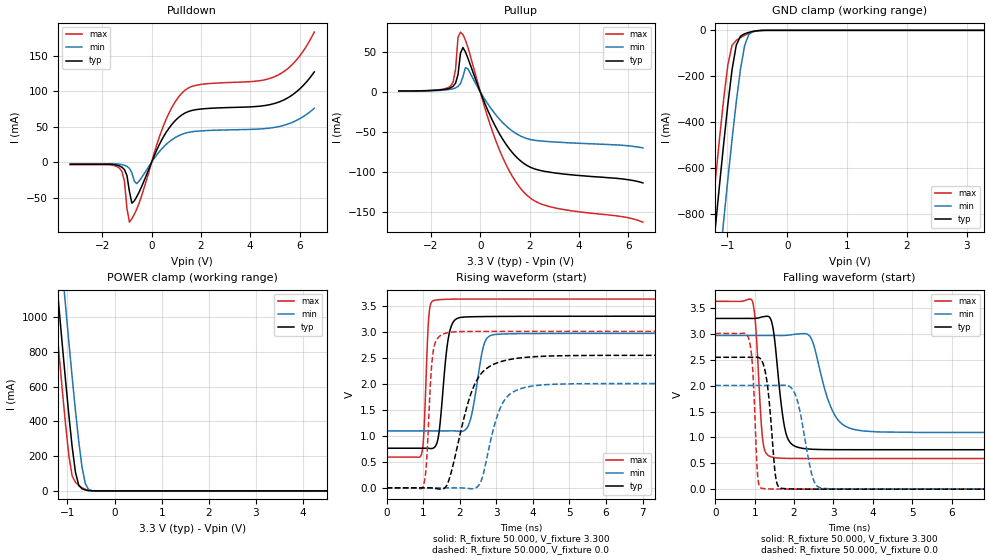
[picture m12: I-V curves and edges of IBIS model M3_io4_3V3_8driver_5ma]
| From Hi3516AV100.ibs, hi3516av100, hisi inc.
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|   Model M3_io4_3V3_8driver_5ma
[Model] M3_io4_3V3_8driver_5ma
Model_type I/O
Enable   Active-Low
C_comp   3.239pF   3.132pF   3.499pF
C_comp_pullup   1.749pF   1.723pF   1.877pF
C_comp_pulldown   1.304pF   1.261pF   1.423pF
[Temperature Range]   25.000   0.125k   -40.000
[Voltage Range]   3.300V   2.970V   3.630V
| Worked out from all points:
|   slope of the pulldown table from 0 to 0.495 V, typ, clamps not added: 13.5 ohm
|   slope of the pullup table from 0 to 0.495 V, typ, clamps not added: 13.8 ohm
|   GND clamp passes 1 mA (typ) near -0.46 V on its own axis
|   POWER clamp passes 1 mA (typ) near -0.51 V on its own axis
|   rising waveform, R_fixture 50.000, V_fixture 3.300: 20-80 % time 202ps typ, 262ps min, 101ps max; typ from 0.763 V to 3.3 V
|   rising waveform, R_fixture 50.000, V_fixture 0.0: 20-80 % time 602ps typ, 465ps min, 137ps max; typ from 0.001 V to 2.55 V
|   falling waveform, R_fixture 50.000, V_fixture 3.300: 20-80 % time 222ps typ, 439ps min, 136ps max; typ from 3.3 V to 0.763 V
|   falling waveform, R_fixture 50.000, V_fixture 0.0: 20-80 % time 175ps typ, 294ps min, 108ps max; typ from 2.55 V to 0.001 V
[Pulldown]
|Voltage   I(typ)   I(min)   I(max)
-3.3V     -2.95mA    -2.277mA   -3.283mA
-1.3V     -5.213mA   -2.741mA   -8.411mA
-1.1V     -10.37mA   -4.226mA   -27.16mA
-1V       -18.61mA   -5.715mA   -65.11mA
-900mV    -41mA      -8.56mA    -84.63mA
-800mV    -57.79mA   -14.97mA   -79.78mA
-600mV    -48.54mA   -30.18mA   -66.06mA
500mV     37.06mA    22.14mA    53.17mA
1.2V      66.2mA     39.1mA     96.65mA
5.1V      84.33mA    50.01mA    122.7mA
5.9V      100.3mA    59.5mA     145.5mA
6.6V      127.7mA    76.28mA    183.9mA
[Pullup]
|Voltage   I(typ)   I(min)   I(max)
-3.3V     939.9uA    865.9uA    952.5uA
-1.2V     4.887mA    3.004mA    7.228mA
-1V       10.67mA    4.748mA    27.93mA
-900mV    21.47mA    6.577mA    67.9mA
-800mV    48.03mA    10.23mA    74.37mA
-700mV    55.15mA    18.64mA    71.2mA
-500mV    41.93mA    28.61mA    55.35mA
700mV     -48.1mA    -31.33mA   -66.47mA
1.2V      -72.04mA   -46.62mA   -100mA
1.8V      -90.12mA   -57.51mA   -126.3mA
2.9V      -100.8mA   -62.5mA    -144mA
6.6V      -113.8mA   -70.11mA   -162.8mA
[GND_clamp]
|Voltage   I(typ)   I(min)   I(max)
-3.3V     -6.775A    -7.035A    -6.624A
-1.27V    -1.051A    -1.391A    -846.9mA
-1.2V     -860.6mA   -1.2A      -657.1mA
-1.06V    -493.3mA   -827.8mA   -298.8mA
-990mV    -322.2mA   -647.6mA   -149.5mA
-920mV    -171mA     -474.2mA   -65.16mA
-850mV    -64.78mA   -312mA     -43.82mA
-780mV    -25.58mA   -169.8mA   -31.88mA
-710mV    -14.94mA   -66.04mA   -21.48mA
-640mV    -8.835mA   -17.88mA   -12.82mA
-430mV    -438.1uA   -627.6uA   -443.7uA
3.28V     0A         0A         0A
[POWER_clamp]
|Voltage   I(typ)   I(min)   I(max)
-3.28V    7.852A     8.261A     7.609A
-1.32V    1.49A      1.927A     1.226A
-1.25V    1.271A     1.708A     1.008A
-1.18V    1.055A     1.491A     792.2mA
-1.04V    634.5mA    1.064A     382.2mA
-970mV    435.8mA    856.3mA    204.2mA
-900mV    253.6mA    654.3mA    86.06mA
-830mV    107.5mA    461.4mA    49.65mA
-690mV    11.98mA    135.8mA    17.79mA
-620mV    5.154mA    41.17mA    8.874mA
-480mV    413.3uA    1.23mA     720.7uA
6.6V      -86.79uA   -162.7nA   -146.4uA
[Ramp]
| variable   typ   min   max
dV/dt_r   1.529/0.602n   1.204/0.467n   1.805/0.143n
dV/dt_f   1.522/0.223n   1.124/0.439n   1.823/0.140n
R_load = 50.000
[Rising Waveform]
R_fixture= 50.000
V_fixture= 3.300
V_fixture_min= 2.970
V_fixture_max= 3.630
|time   V(typ)   V(min)   V(max)
0s        762.5mV    1.096V     592.4mV
960ps     762.4mV    1.096V     663.7mV
1.147ns   761.1mV    1.096V     3.234V
1.28ns    765.5mV    1.096V     3.601V
1.429ns   1.048V     1.096V     3.618V
1.704ns   2.943V     1.096V     3.627V
1.962ns   3.267V     1.089V     3.629V
2.271ns   3.289V     1.27V      3.63V
2.841ns   3.295V     2.929V     3.63V
10ns      3.3V       2.97V      3.63V
[Rising Waveform]
R_fixture= 50.000
V_fixture= 0.0
V_fixture_min= 0.0
V_fixture_max= 0.0
|time   V(typ)   V(min)   V(max)
0s        743.2uV    0V         923.3uV
1ns       678.3uV    753.6nV    31.19mV
1.084ns   1.07mV     0V         430.9mV
1.265ns   -4.816mV   2.683uV    2.586V
1.54ns    -19.69mV   6.784uV    2.956V
2.491ns   2.101V     26.73mV    3.009V
2.931ns   2.377V     1.162V     3.009V
3.301ns   2.459V     1.757V     3.009V
3.967ns   2.519V     1.956V     3.009V
10ns      2.549V     2.006V     3.009V
[Falling Waveform]
R_fixture= 50.000
V_fixture= 3.300
V_fixture_min= 2.970
V_fixture_max= 3.630
|time   V(typ)   V(min)   V(max)
0s        3.3V       2.97V      3.63V
940ps     3.3V       2.97V      3.636V
1.201ns   3.33V      2.97V      981.7mV
1.402ns   3.296V     2.97V      629.4mV
1.757ns   1.208V     2.971V     596.2mV
2.063ns   817.5mV    2.997V     593mV
2.43ns    773.1mV    2.922V     592.5mV
2.93ns    763.8mV    1.595V     592.4mV
3.409ns   762.7mV    1.18V      592.4mV
10ns      762.5mV    1.096V     592.4mV
[Falling Waveform]
R_fixture= 50.000
V_fixture= 0.0
V_fixture_min= 0.0
V_fixture_max= 0.0
|time   V(typ)   V(min)   V(max)
0s        2.549V     2.006V     3.009V
849ps     2.549V     2.006V     2.909V
950ps     2.549V     2.006V     2.32V
1.075ns   2.55V      2.006V     280.3mV
1.16ns    2.51V      2.006V     22.28mV
1.539ns   209.8mV    2.006V     2.446mV
1.666ns   19.55mV    2.007V     1.643mV
2.048ns   3.141mV    1.798V     1.003mV
2.685ns   897.3uV    22.73mV    926uV
10ns      741.9uV    0V         923.2uV
